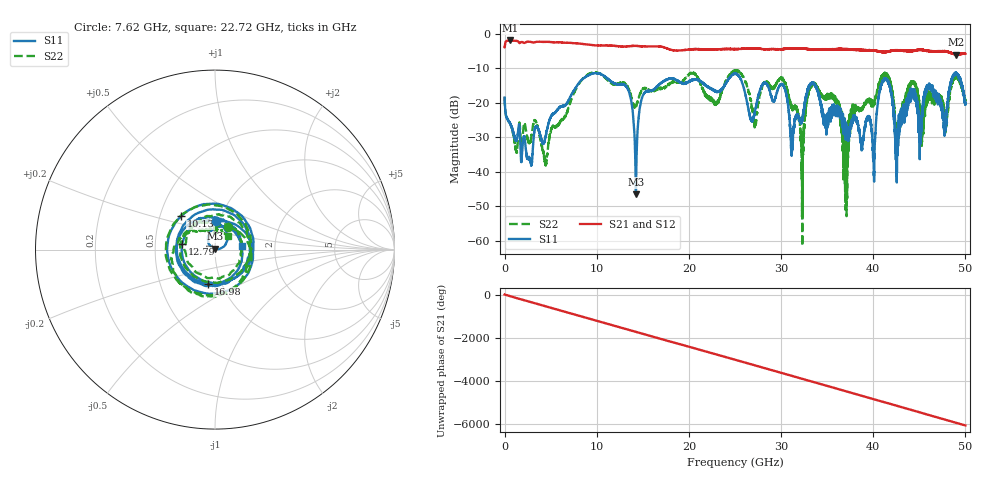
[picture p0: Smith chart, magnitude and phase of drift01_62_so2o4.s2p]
!Created with skrf (http://scikit-rf.org).
# Hz S RI R 50.0
!freq ReS11 ImS11 ReS21 ImS21 ReS12 ImS12 ReS22 ImS22
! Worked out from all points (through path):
!   10001 points, 300 kHz to 50 GHz, reference 50 ohm
!   highest |S21| = -2.00 dB at 625.3 MHz (marker M1); lowest = -6.1 dB at 48.98 GHz (marker M2)
!   group delay of S21, straight-line fit = 336 ps
!   lowest |S11| = -46.5 dB at 14.25 GHz (marker M3), VSWR 1.01, Z = 50 + j0.472 ohm
!   |S11| at or under -10 dB: start of sweep to end of sweep
!   |S22| runs from -61.5 to -10.6 dB; largest |S21 - S12| = 0.022
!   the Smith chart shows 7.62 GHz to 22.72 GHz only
!   S11 on the Smith chart (normalised r, x): 7.62 GHz: 0.97, +0.31; 10.13 GHz: 0.64, +0.26; 12.79 GHz: 0.69, +0.05; 16.98 GHz: 0.87, -0.34; 22.72 GHz: 1.34, +0.06
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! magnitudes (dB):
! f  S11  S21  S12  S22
! 300 kHz  -18.6  -4.0  -4.1  -18.3
! 625.3 MHz  -26.1  -2.0  -2.0  -26.2
! 4.445 GHz  -29.8  -2.4  -2.4  -37.6
! 7.62 GHz  -16.1  -2.8  -2.8  -16.7
! 8.335 GHz  -13.5  -3.0  -3.0  -13.5
! 10.13 GHz  -11.5  -3.4  -3.4  -11.4
! 12.79 GHz  -14.7  -3.7  -3.7  -14.3
! 14.25 GHz  -46.5  -3.6  -3.6  -21.1
! 16.67 GHz  -14.9  -3.7  -3.7  -15.9
! 16.98 GHz  -14.3  -3.8  -3.8  -15.7
! 22.72 GHz  -16.5  -4.6  -4.6  -19.7
! 25 GHz  -11.6  -4.5  -4.5  -11.0
! 27.17 GHz  -22.5  -4.3  -4.3  -26.0
! 30.22 GHz  -14.9  -4.5  -4.5  -13.4
! 32.28 GHz  -24.7  -4.3  -4.3  -47.7
! 33.34 GHz  -14.3  -4.6  -4.6  -14.7
! 36.99 GHz  -27.4  -4.5  -4.5  -41.8
! 40.05 GHz  -38.0  -4.9  -4.9  -19.8
! 41.67 GHz  -14.0  -5.1  -5.1  -13.1
! 42.59 GHz  -34.0  -4.8  -4.8  -32.3
! 48.98 GHz  -11.5  -6.1  -6.0  -12.5
! 50 GHz  -20.5  -5.8  -5.8  -19.1
